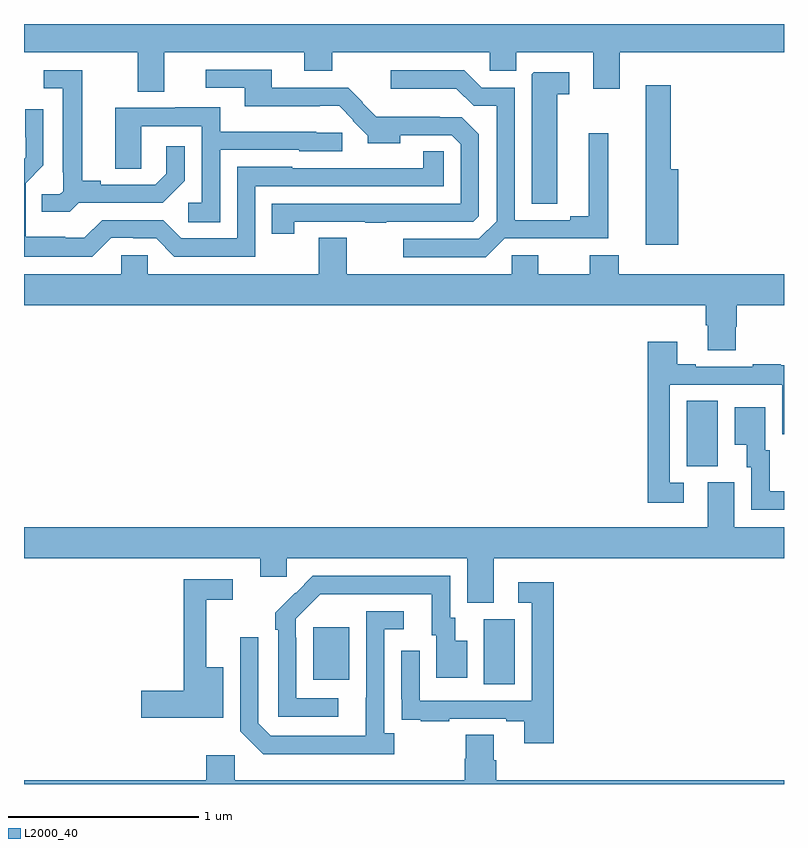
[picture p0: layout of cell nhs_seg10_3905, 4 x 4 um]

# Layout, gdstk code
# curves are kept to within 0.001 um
import gdstk
lib = gdstk.Library(unit=1e-6, precision=1e-09)
def R(c, l, rs):  # rectangles x0, y0, x1, y1
    for r in rs: c.add(gdstk.rectangle(r[:2], r[2:], *l))
def P(c, l, *ps):  # polygons
    for p in ps: c.add(gdstk.Polygon(p, *l))
L2000_40 = (2000, 40)

nhs_seg10_3905 = lib.new_cell('nhs_seg10_3905')
R(nhs_seg10_3905, L2000_40, [(329.42,1261.024,329.584,1261.368), (328.523,1261.049,328.711,1261.324), (330.488,1262.173,330.652,1262.516)])
P(nhs_seg10_3905, L2000_40, [(327.739,1264.352),(328.475,1264.352),(328.475,1264.253),(328.623,1264.253),(328.623,1264.352),(329.451,1264.352),(329.451,1264.254),(329.59,1264.254),(329.59,1264.352),(329.996,1264.352),(329.996,1264.158),(330.136,1264.158),(330.136,1264.352),(331,1264.352),(331,1264.5),(327,1264.5),(327,1264.352),(327.599,1264.352),(327.599,1264.144),(327.739,1264.144)],
  [(328.422,1263.459),(328.795,1263.459),(328.795,1263.454),(328.907,1263.454),(328.907,1263.459),(329.364,1263.459),(329.394,1263.489),(329.394,1263.921),(329.305,1264.01),(329.189,1264.01),(329.189,1264.012),(328.855,1264.012),(328.781,1264.085),(328.783,1264.087),(328.707,1264.164),(328.303,1264.164),(328.303,1264.26),(327.957,1264.26),(327.957,1264.164),(328.163,1264.164),(328.163,1264.067),(328.556,1264.067),(328.556,1264.07),(328.658,1264.07),(328.734,1263.993),(328.731,1263.99),(328.81,1263.912),(328.81,1263.872),(328.981,1263.872),(328.981,1263.915),(329.25,1263.915),(329.298,1263.867),(329.298,1263.555),(328.303,1263.555),(328.303,1263.396),(328.422,1263.396)],
  [(327.288,1263.558),(327.73,1263.558),(327.846,1263.674),(327.846,1263.856),(327.749,1263.856),(327.749,1263.711),(327.692,1263.654),(327.403,1263.654),(327.403,1263.674),(327.307,1263.674),(327.307,1264.257),(327.105,1264.257),(327.105,1264.161),(327.203,1264.161),(327.203,1263.721),(327.207,1263.721),(327.207,1263.621),(327.189,1263.603),(327.094,1263.603),(327.094,1263.511),(327.24,1263.511)],
  [(329.53,1263.372),(330.076,1263.372),(330.076,1263.925),(329.972,1263.925),(329.972,1263.488),(329.876,1263.488),(329.876,1263.468),(329.583,1263.468),(329.583,1264.164),(329.409,1264.164),(329.316,1264.257),(328.929,1264.257),(328.929,1264.16),(329.275,1264.16),(329.366,1264.069),(329.487,1264.069),(329.487,1263.462),(329.394,1263.369),(328.995,1263.369),(328.995,1263.273),(329.431,1263.273)],
  [(329.806,1264.129),(329.869,1264.129),(329.869,1264.245),(329.682,1264.245),(329.672,1264.235),(329.672,1263.553),(329.806,1263.553)],
  [(330.443,1263.736),(330.404,1263.736),(330.404,1264.177),(330.272,1264.177),(330.272,1263.338),(330.443,1263.338)],
  [(328.032,1263.837),(328.449,1263.837),(328.449,1263.831),(328.674,1263.831),(328.674,1263.927),(328.539,1263.927),(328.539,1263.934),(328.033,1263.934),(328.033,1264.063),(327.797,1264.063),(327.797,1264.059),(327.479,1264.059),(327.479,1263.739),(327.618,1263.739),(327.618,1263.963),(327.936,1263.963),(327.936,1263.558),(327.864,1263.558),(327.864,1263.457),(328.032,1263.457)],
  [(327.459,1263.375),(327.576,1263.375),(327.576,1263.372),(327.696,1263.372),(327.792,1263.276),(328.218,1263.276),(328.218,1263.645),(329.208,1263.645),(329.208,1263.83),(329.1,1263.83),(329.1,1263.742),(328.413,1263.741),(328.413,1263.748),(328.122,1263.748),(328.122,1263.372),(327.828,1263.372),(327.732,1263.468),(327.411,1263.468),(327.318,1263.375),(327.218,1263.375),(327.218,1263.379),(327.009,1263.379),(327.009,1263.663),(327.102,1263.756),(327.102,1264.051),(327.006,1264.051),(327.006,1263.904),(327.008,1263.904),(327.008,1263.798),(327,1263.79),(327,1263.275),(327.359,1263.275)],
  [(330.747,1262.907),(330.752,1262.907),(330.752,1263.02),(331,1263.02),(331,1263.184),(330.131,1263.184),(330.131,1263.283),(329.978,1263.283),(329.978,1263.184),(329.707,1263.184),(329.707,1263.282),(329.568,1263.282),(329.568,1263.184),(328.699,1263.184),(328.699,1263.374),(328.552,1263.374),(328.552,1263.184),(327.651,1263.184),(327.651,1263.282),(327.513,1263.282),(327.513,1263.184),(327,1263.184),(327,1263.02),(330.587,1263.02),(330.587,1262.914),(330.599,1262.914),(330.599,1262.782),(330.747,1262.782)],
  [(330.472,1262.085),(330.399,1262.085),(330.399,1262.601),(330.99,1262.601),(330.99,1262.34),(331,1262.34),(331,1262.703),(330.983,1262.703),(330.983,1262.71),(330.835,1262.71),(330.835,1262.697),(330.535,1262.697),(330.535,1262.71),(330.439,1262.71),(330.439,1262.827),(330.283,1262.827),(330.283,1261.98),(330.472,1261.98)],
  [(331,1262.04),(330.925,1262.04),(330.925,1262.256),(330.901,1262.256),(330.901,1262.482),(330.74,1262.482),(330.74,1262.285),(330.803,1262.285),(330.803,1262.166),(330.828,1262.166),(330.828,1261.944),(331,1261.944)],
  [(329.473,1261.688),(331,1261.688),(331,1261.852),(330.739,1261.852),(330.739,1262.088),(330.599,1262.088),(330.599,1261.852),(327,1261.852),(327,1261.688),(328.244,1261.688),(328.244,1261.59),(328.383,1261.59),(328.383,1261.688),(329.333,1261.688),(329.333,1261.453),(329.473,1261.453)],
  [(328.654,1260.951),(328.434,1260.951),(328.434,1261.271),(328.431,1261.271),(328.431,1261.371),(328.56,1261.5),(329.147,1261.5),(329.147,1261.284),(329.171,1261.284),(329.171,1261.059),(329.332,1261.059),(329.332,1261.255),(329.269,1261.255),(329.269,1261.374),(329.244,1261.374),(329.244,1261.596),(328.52,1261.596),(328.323,1261.401),(328.323,1261.313),(328.338,1261.313),(328.338,1260.855),(328.654,1260.855)],
  [(328.048,1261.114),(327.959,1261.114),(327.959,1261.47),(328.099,1261.47),(328.099,1261.578),(327.841,1261.578),(327.841,1260.992),(327.618,1260.992),(327.618,1260.85),(328.048,1260.85)],
  [(329.789,1261.561),(329.601,1261.561),(329.601,1261.455),(329.673,1261.455),(329.673,1260.939),(329.082,1260.939),(329.082,1261.201),(328.986,1261.201),(328.986,1260.946),(328.987,1260.946),(328.987,1260.837),(329.089,1260.837),(329.089,1260.831),(329.237,1260.831),(329.237,1260.843),(329.537,1260.843),(329.537,1260.831),(329.633,1260.831),(329.633,1260.714),(329.789,1260.714)],
  [(328.948,1260.766),(328.896,1260.766),(328.896,1261.314),(328.999,1261.314),(328.999,1261.41),(328.8,1261.41),(328.799,1260.753),(328.299,1260.753),(328.233,1260.819),(328.233,1261.273),(328.137,1261.273),(328.137,1260.777),(328.258,1260.656),(328.948,1260.656)],
  [(331,1260.52),(329.486,1260.52),(329.486,1260.626),(329.473,1260.626),(329.473,1260.758),(329.326,1260.758),(329.326,1260.633),(329.321,1260.633),(329.321,1260.52),(328.11,1260.52),(328.11,1260.652),(327.959,1260.652),(327.959,1260.52),(327,1260.52),(327,1260.5),(331,1260.5)])

lib.write_gds('nhs_seg10_3905.gds')
